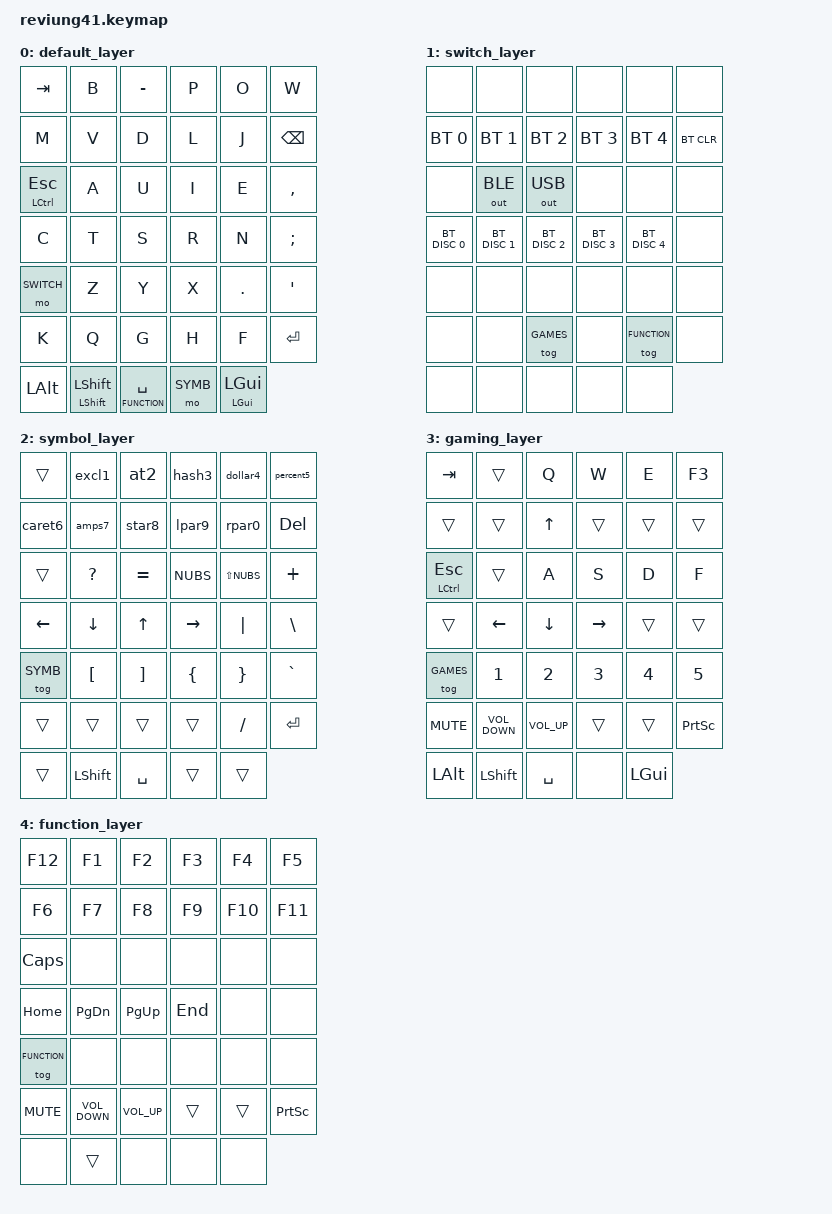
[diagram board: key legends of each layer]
/*
 * Copyright (c) 2020 The ZMK Contributors
 *
 * SPDX-License-Identifier: MIT
 */

#include <behaviors.dtsi>
#include <dt-bindings/zmk/keys.h>
#include <dt-bindings/zmk/rgb.h>
#include <dt-bindings/zmk/bt.h>
#include <dt-bindings/zmk/outputs.h>

#define DEFAULT 0
#define SWITCH 1
#define SYMB 2
#define GAMES 3
#define FUNCTION 4

// decimal HID code to keypress macro
// see https://github.com/zmkfirmware/zmk/blob/94789a092c6d8ddf5ab5ad88eb011a4ece6b5cee/app/include/dt-bindings/zmk/hid_usage_pages.h
// #define KEYPRESS_FROM_HID(hidcode) ((7 << 16) | hidcode)

&sk {
    release-after-ms = <1000>;
    quick-release;
};


/ {
    behaviors {
        // apply modifier when hold, sticky modifier when tapped
        kp_sticky: behavior_key_sticky {
            compatible = "zmk,behavior-hold-tap";
            label = "kp_sticky";
            #binding-cells = <2>;
            flavor = "hold-preferred";
            tapping-term-ms = <200>;
            bindings = <&kp>, <&sk>;
        };

        // mod morph
        excl1: reverse_shift_1 {
            compatible = "zmk,behavior-mod-morph";
            label = "NUMSH_1";
            #binding-cells = <0>;
            bindings =
                <&kp EXCLAMATION>,
                <&kp N1>;
            mods = <(MOD_LSFT|MOD_RSFT)>;
        };
        at2: reverse_shift_2 {
            compatible = "zmk,behavior-mod-morph";
            label = "NUMSH_2";
            #binding-cells = <0>;
            bindings =
                <&kp AT>,
                <&kp N2>;
            mods = <(MOD_LSFT|MOD_RSFT)>;
        };
        hash3: reverse_shift_3 {
            compatible = "zmk,behavior-mod-morph";
            label = "NUMSH_3";
            #binding-cells = <0>;
            bindings =
                <&kp HASH>,
                <&kp N3>;
            mods = <(MOD_LSFT|MOD_RSFT)>;
        };
        dollar4: reverse_shift_4 {
            compatible = "zmk,behavior-mod-morph";
            label = "NUMSH_4";
            #binding-cells = <0>;
            bindings =
                <&kp DOLLAR>,
                <&kp N4>;
            mods = <(MOD_LSFT|MOD_RSFT)>;
        };
        percent5: reverse_shift_5 {
            compatible = "zmk,behavior-mod-morph";
            label = "NUMSH_5";
            #binding-cells = <0>;
            bindings =
                <&kp PERCENT>,
                <&kp N5>;
            mods = <(MOD_LSFT|MOD_RSFT)>;
        };
        caret6: reverse_shift_6 {
            compatible = "zmk,behavior-mod-morph";
            label = "NUMSH_6";
            #binding-cells = <0>;
            bindings =
                <&kp CARET>,
                <&kp N6>;
            mods = <(MOD_LSFT|MOD_RSFT)>;
        };
        amps7: reverse_shift_7 {
            compatible = "zmk,behavior-mod-morph";
            label = "NUMSH_7";
            #binding-cells = <0>;
            bindings =
                <&kp AMPERSAND>,
                <&kp N7>;
            mods = <(MOD_LSFT|MOD_RSFT)>;
        };
        star8: reverse_shift_8 {
            compatible = "zmk,behavior-mod-morph";
            label = "NUMSH_8";
            #binding-cells = <0>;
            bindings =
                <&kp ASTERISK>,
                <&kp N8>;
            mods = <(MOD_LSFT|MOD_RSFT)>;
        };
        lpar9: reverse_shift_9 {
            compatible = "zmk,behavior-mod-morph";
            label = "NUMSH_9";
            #binding-cells = <0>;
            bindings =
                <&kp LEFT_PARENTHESIS>,
                <&kp N9>;
            mods = <(MOD_LSFT|MOD_RSFT)>;
        };
        rpar0: reverse_shift_0 {
            compatible = "zmk,behavior-mod-morph";
            label = "NUMSH_0";
            #binding-cells = <0>;
            bindings =
                <&kp RIGHT_PARENTHESIS>,
                <&kp N0>;
            mods = <(MOD_LSFT|MOD_RSFT)>;
        };
    };

    keymap {
        compatible = "zmk,keymap";

        default_layer {
            bindings = <
                // <tab>     B         -         P       O       W
                &kp TAB   &kp B   &kp MINUS   &kp P   &kp O   &kp W
                // M     V        D         L       J       <bsp>
                &kp M  &kp V   &kp D     &kp L   &kp J    &kp BSPC

                // <escape> -> <ctrl>     A       U       I       E      ,
                &mt LCTRL ESCAPE       &kp A   &kp U   &kp I   &kp E  &kp COMMA
                // C        T       S       R       N       Lafayette magic key
                &kp C      &kp T   &kp S   &kp R   &kp N   &kp SEMICOLON

                // change layout    Z       Y       X       .            '
                &mo SWITCH        &kp Z   &kp Y   &kp X   &kp DOT  &kp SQT
                // K      Q       G       H       F       <enter>
                &kp K   &kp Q   &kp G   &kp H   &kp F    &kp ENTER

                // <alt>       <shift>                    <space>       <symbols>      <super>
                &kp LALT   &kp_sticky LSHIFT LSHIFT  &lt FUNCTION SPACE  &mo SYMB    &kp_sticky LEFT_GUI LEFT_GUI
                >;
        };

        switch_layer {
            bindings = <

                &none &none &none &none &none &none
                // bluetooth profile selection
                &bt BT_SEL 0  &bt BT_SEL 1  &bt BT_SEL 2  &bt BT_SEL 3  &bt BT_SEL 4 &bt BT_CLR

                // output selection
                &none &out OUT_BLE &out OUT_USB &none &none &none
                // disconnect from device when buggy behaviour
                &bt BT_DISC 0  &bt BT_DISC 1  &bt BT_DISC 2  &bt BT_DISC 3  &bt BT_DISC 4 &none

                &none &none &none &none &none &none
                // change layout
                &none &none &tog GAMES &none &tog FUNCTION &none

                &none &none &none &none &none
            >;
        };

        symbol_layer {
            bindings = <
                //          !        @      #       $         %
                &trans    &excl1   &at2  &hash3  &dollar4  &percent5
                // ^        &       *       (        )       <backspace>
                &caret6  &amps7  &star8   &lpar9   &rpar0     &kp DEL

                //             ?           =          <         >          +
                &trans    &kp QUESTION  &kp EQUAL  &kp NUBS  &kp LS(NUBS)  &kp PLUS
                // <-       \/          /\        ->           |      <backslash>
                &kp LEFT  &kp DOWN    &kp UP  &kp RIGHT   &kp PIPE    &kp BACKSLASH

                //             [        ]            {          }      `
                &tog SYMB  &kp LBKT  &kp RBKT   &kp LBRC   &kp RBRC  &kp GRAVE
                //                                 /
                &trans  &trans  &trans  &trans  &kp SLASH  &kp ENTER

                //
                &trans    &kp LSHIFT   &kp SPACE    &trans     &trans
                >;
        };



        gaming_layer {
            bindings = <
                //
                &kp   TAB   &trans   &kp Q   &kp W    &kp E    &kp F3
                //
                &trans      &trans   &kp UP   &trans   &trans   &trans

                //
                &mt LCTRL ESCAPE    &trans     &kp A      &kp S       &kp D    &kp F
                //
                &trans        &kp LEFT   &kp DOWN   &kp RIGHT   &trans   &trans

                //
                &tog GAMES  &kp N1  &kp N2  &kp N3  &kp N4  &kp N5
                //
                &kp C_MUTE  &kp C_VOLUME_DOWN  &kp C_VOL_UP  &trans  &trans  &kp PRINTSCREEN

                //              <maj>
                &kp LEFT_ALT  &kp LSHIFT  &kp SPACE   &none   &kp LEFT_GUI
                >;
        };


        function_layer {
            bindings = <
                // FUNCTION KEYS
                &kp F12  &kp F1  &kp F2  &kp F3  &kp F4  &kp F5
                &kp F6  &kp F7  &kp F8  &kp F9  &kp F10  &kp F11

                &kp CAPS &none &none &none &none &none
                &kp HOME &kp PAGE_DOWN &kp PAGE_UP &kp END &none &none
                //
                &tog FUNCTION   &none   &none   &none   &none   &none
                &kp C_MUTE  &kp C_VOLUME_DOWN  &kp C_VOL_UP  &trans  &trans  &kp PRINTSCREEN

                //
                &none   &trans   &none   &none    &none
                >;
        };
    };
};
